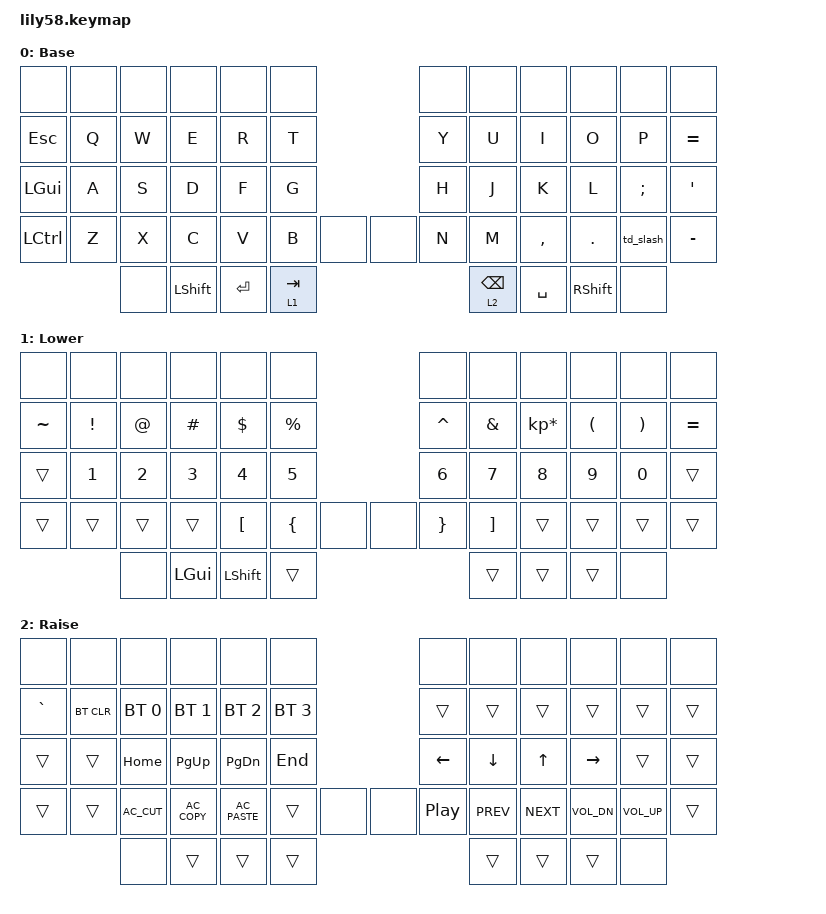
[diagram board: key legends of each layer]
/*
 * Copyright (c) 2020 The ZMK Contributors
 *
 * SPDX-License-Identifier: MIT
 */

#include <behaviors.dtsi>
#include <dt-bindings/zmk/keys.h>
#include <dt-bindings/zmk/bt.h>

/ {
        behaviors {
                lt: layer_tap {
                        compatible = "zmk,behavior-hold-tap";
                        #binding-cells = <2>;
                        flavor = "tap-preferred";
                        tapping-term-ms = <200>;
                        quick-tap-ms = <175>;  // enables key repeat
                        require-prior-idle-ms = <125>;
                        bindings = <&mo>, <&kp>;
                };

                td_slash: tap_dance_slash {
                        compatible = "zmk,behavior-tap-dance";
                        #binding-cells = <0>;
                        tapping-term-ms = <200>;
                        bindings = <&kp FSLH>, <&kp BSLH>;
                };

        };

        keymap {
                compatible = "zmk,keymap";

                default_layer {
// -----------------------------------------------------------------------------------------
// |      |      |      |      |      |      |                  |      |      |      |      |      |      |
// |  ESC |  Q   |  W   |  E   |  R   |  T   |                  |  Y   |  U   |  I   |  O   |  P   |  =   |
// |  GUI |  A   |  S   |  D   |  F   |  G   |                  |  H   |  J   |  K   |  L   |  ;   |  '   |
// |  CTL |  Z   |  X   |  C   |  V   |  B   |      |  |        |  N   |  M   |  ,   |  .   | //\  |  -   |
//                      |      | SHIFT | ENTER | TAB/L |  | BSPC/R | SPACE | SHIFT |      |
                        display-name = "Base";
                        bindings = <
   &none     &none &none &none &none &none                       &none &none &none     &none   &none     &none
   &kp ESC   &kp Q &kp W &kp E &kp R &kp T                       &kp Y &kp U &kp I     &kp O   &kp P     &kp EQUAL
   &kp LGUI  &kp A &kp S &kp D &kp F &kp G                       &kp H &kp J &kp K     &kp L   &kp SEMI  &kp SQT
   &kp LCTRL &kp Z &kp X &kp C &kp V &kp B  &none        &none   &kp N &kp M &kp COMMA &kp DOT &td_slash &kp MINUS
                   &none &kp LSHIFT &kp ENTER &lt 1 TAB          &lt 2 BSPC &kp SPACE &kp RSHIFT &none
                        >;
                };

                lower_layer {
// -----------------------------------------------------------------------------------------
// |      |      |      |      |      |      |                  |      |      |      |      |      |      |
// |   ~  |  !   |  @   |  #   |  $   |  %   |                  |  ^   |  &   |  *   |  (   |  )   |  =   |
// |      |  1   |  2   |  3   |  4   |  5   |                  |  6   |  7   |  8   |  9   |  0   |      |
// |      |      |      |      |  [   |  {   |      |  |        |  }   |  ]   |      |      |      |      |
//                      |      | LGUI | LSHFT|      |  |        |      |      |      |      |
                        display-name = "Lower";
                        bindings = <
   &none     &none    &none  &none    &none      &none                       &none     &none    &none           &none    &none    &none
   &kp TILDE &kp EXCL &kp AT &kp HASH &kp DOLLAR &kp PRCNT                   &kp CARET &kp AMPS &kp KP_MULTIPLY &kp LPAR &kp RPAR &kp EQUAL
   &trans    &kp N1   &kp N2 &kp N3   &kp N4     &kp N5                      &kp N6    &kp N7   &kp N8          &kp N9   &kp N0   &trans
   &trans    &trans   &trans &trans   &kp LBKT   &kp LBRC  &none     &none   &kp RBRC  &kp RBKT &trans          &trans   &trans   &trans
                      &none  &kp LGUI &kp LSHIFT &trans                      &trans    &trans   &trans          &none
                        >;
                };

                raise_layer {
// -----------------------------------------------------------------------------------------
// |      |       |      |      |      |       |                  |      |      |      |      |      |      |
// |  `   | BTCLR | BT0  | BT1  | BT2  |  BT3  |                  |      |      |      |      |      |      |
// |      |       | HOME | PGUP | PGDN |  END  |                  | LEFT | DOWN |  UP  | RIGHT|      |      |
// |      |       | CUT  | COPY | PASTE|       |      |  |        | PLAY | PREV | NEXT | VOL- | VOL+ |      |
//                       |      |      |      |      |  |         |      |      |      |      |
                        display-name = "Raise";
                        bindings = <
   &none     &none      &none        &none         &none          &none                           &none            &none      &none      &none        &none        &none
   &kp GRAVE &bt BT_CLR &bt BT_SEL 0 &bt BT_SEL 1  &bt BT_SEL 2   &bt BT_SEL 3                    &trans           &trans     &trans     &trans       &trans       &trans
   &trans    &trans     &kp HOME     &kp PG_UP     &kp PG_DN      &kp END                         &kp LEFT         &kp DOWN   &kp UP     &kp RIGHT    &trans       &trans
   &trans    &trans     &kp C_AC_CUT &kp C_AC_COPY &kp C_AC_PASTE &trans        &none     &none   &kp C_PLAY_PAUSE &kp C_PREV &kp C_NEXT &kp C_VOL_DN &kp C_VOL_UP &trans
                        &none        &trans        &trans         &trans                          &trans           &trans     &trans     &none
                        >;
                };

                extra_1 {
                        status = "reserved";
                };

                extra_2 {
                        status = "reserved";
                };

                extra_3 {
                        status = "reserved";
                };
        };
};
